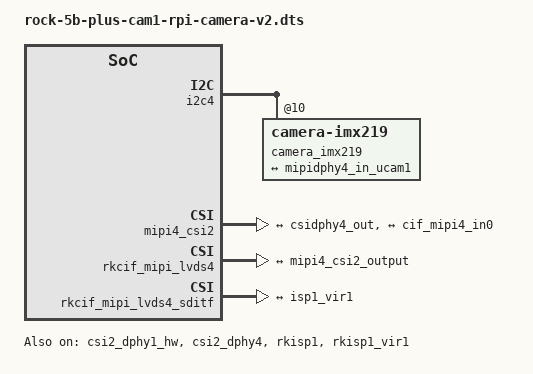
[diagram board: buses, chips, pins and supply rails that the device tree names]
/dts-v1/;
/plugin/;

#include "rock-5b-rpi-camera-v2.dts"

/ {
	metadata {
		title ="Enable Raspberry Pi Camera V2 on CAM1";
		compatible = "radxa,rock-5b-plus";
		exclusive = "csi2_dphy4";
		description = "Enable Raspberry Pi Camera V2 on CAM1.";
	};


	fragment@0 {
		target-path = "/";

		__overlay__ {
			camera_pwdn_gpio: camera-pwdn-gpio {
				gpio = <&gpio2 RK_PA6 GPIO_ACTIVE_HIGH>;
			};
		};
	};

	fragment@1 {
		target = <&i2c4>;

		__overlay__ {
            pinctrl-names = "default";
			pinctrl-0 = <&i2c4m1_xfer>;
			status = "okay";
            #address-cells = <1>;
			#size-cells = <0>;

			camera_imx219: camera-imx219@10 {
				port {
					imx219_out4: endpoint {
						remote-endpoint = <&mipidphy4_in_ucam1>;
						data-lanes = <1 2>;
					};
				};
			};
		};
	};

	fragment@2 {
		target = <&csi2_dphy1_hw>;

		__overlay__ {
			status = "okay";
		};
	};

	fragment@3 {
		target = <&csi2_dphy4>;

		__overlay__ {
			status = "okay";

			ports {
				#address-cells = <1>;
				#size-cells = <0>;

				port@0 {
					reg = <0>;
					#address-cells = <1>;
					#size-cells = <0>;

					mipidphy4_in_ucam1: endpoint@2 {
						reg = <2>;
						remote-endpoint = <&imx219_out4>;
						data-lanes = <1 2>;
					};
				};

				port@1 {
					reg = <1>;
					#address-cells = <1>;
					#size-cells = <0>;

					csidphy4_out: endpoint@0 {
						reg = <0>;
						remote-endpoint = <&mipi4_csi2_input>;
					};
				};
			};
		};
	};

	fragment@4 {
		target = <&mipi4_csi2>;

		__overlay__ {
			status = "okay";

			ports {
				#address-cells = <1>;
				#size-cells = <0>;

				port@0 {
					reg = <0>;
					#address-cells = <1>;
					#size-cells = <0>;

					mipi4_csi2_input: endpoint@1 {
						reg = <1>;
						remote-endpoint = <&csidphy4_out>;
					};
				};

				port@1 {
					reg = <1>;
					#address-cells = <1>;
					#size-cells = <0>;

					mipi4_csi2_output: endpoint@0 {
						reg = <0>;
						remote-endpoint = <&cif_mipi4_in0>;
					};
				};
			};
		};
	};

	fragment@6 {
		target = <&rkcif_mipi_lvds4>;

		__overlay__ {
			status = "okay";

			port {
				cif_mipi4_in0: endpoint {
				remote-endpoint = <&mipi4_csi2_output>;
				};
			};
		};
	};

	fragment@7 {
		target = <&rkcif_mipi_lvds4_sditf>;

		__overlay__ {
			status = "okay";

			port {
				mipi_lvds4_sditf: endpoint {
					remote-endpoint = <&isp1_vir1>;
				};
			};
		};
	};

	fragment@9 {
		target = <&isp1_mmu>;

		__overlay__ {
			status = "okay";
		};
	};

	fragment@10 {
		target = <&rkisp1>;

		__overlay__ {
			status = "okay";
		};
	};

	fragment@11 {
		target = <&rkisp1_vir1>;

		__overlay__ {
			status = "okay";

			port {
				#address-cells = <1>;
				#size-cells = <0>;

				isp1_vir1: endpoint@0 {
					reg = <0>;
					remote-endpoint = <&mipi_lvds4_sditf>;
				};
			};
		};
	};

	fragment@12 {
		target = <&pinctrl>;

		__overlay__ {
			camera {
				cam_pwdn_gpio: cam-pwdn-gpio {
					rockchip,pins = <2 RK_PA6 RK_FUNC_GPIO &pcfg_pull_up>;
				};
			};
		};
	};
};

